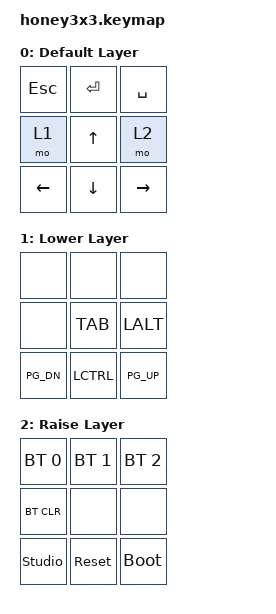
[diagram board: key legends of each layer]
/*
 * Copyright (c) 2026 The ZMK Contributors
 *
 * SPDX-License-Identifier: MIT
 */

#include <behaviors.dtsi>
#include <dt-bindings/zmk/keys.h>
#include <dt-bindings/zmk/bt.h>

/ {
    keymap {
        compatible = "zmk,keymap";

        default_layer {
            display-name = "Default Layer";

            bindings = <
               &kp ESC  &kp RET  &kp SPACE
               &mo 1    &kp UP   &mo 2
               &kp LEFT &kp DOWN &kp RIGHT
            >;

        };
        
        lower_layer {
            display-name = "Lower Layer";
            bindings = <
               &none    &none    &none
               &none    &TAB     &LALT
               &PG_DN   &LCTRL   &PG_UP
            >;
        };

        raise_layer {
            display-name = "Raise Layer";
            bindings = <
              &bt BT_SEL 0   &bt BT_SEL 1 &bt BT_SEL 2
              &bt BT_CLR     &none        &none
              &studio_unlock &sys_reset   &bootloader
            >;
        };
    };
};
